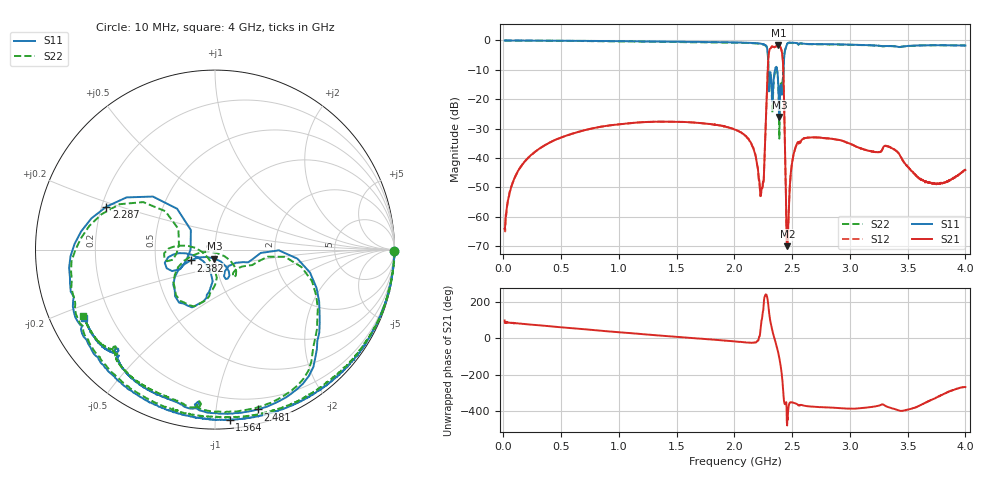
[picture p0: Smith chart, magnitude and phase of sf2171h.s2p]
# Hz S RI R 50
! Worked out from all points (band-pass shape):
!   1601 points, 10 MHz to 4 GHz, reference 50 ohm
!   highest |S21| = -1.58 dB at 2.382 GHz (marker M1); lowest = -70.0 dB at 2.459 GHz (marker M2)
!   |S21| within 3 dB of the highest: 2.297 GHz to 2.414 GHz (117 MHz wide, 4.97 % of centre)
!   lowest |S11| = -26.0 dB at 2.389 GHz (marker M3), VSWR 1.11, Z = 49.4 - j4.93 ohm
!   |S11| at or under -10 dB: 2.294 GHz to 2.352 GHz (58.19 MHz wide, 2.5 % of centre); 2.37 GHz to 2.426 GHz (56.05 MHz wide, 2.34 % of centre)
!   |S22| runs from -33.4 to 0.0 dB; largest |S21 - S12| = 0.0031
!   S11 on the Smith chart (normalised r, x): 10 MHz: open; 1.564 GHz: 0.05, -1.09; 2.287 GHz: 0.22, +0.18; 2.382 GHz: 0.76, -0.09; 2.481 GHz: 0.11, -1.30; 4 GHz: 0.10, -0.24
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1e7  0.9997 -0.00994  -9.29e-05 0.000612  -9.94e-05 0.0006  0.9999 -0.0103
1.770812e8  0.982 -0.1711  0.00152 0.00834  0.00154 0.00824  0.9811 -0.1769
6.758312e8  0.7858 -0.596  0.0178 0.0226  0.0177 0.0226  0.7737 -0.6015
1.341662e9  0.2711 -0.9196  0.0397 0.0119  0.0399 0.0118  0.2704 -0.9131
1.563606e9  0.0809 -0.9484  0.0408 0.00434  0.0408 0.00412  0.0809 -0.934
2.005e9  -0.3293 -0.8639  0.0291 -0.00837  0.0293 -0.00841  -0.3216 -0.8568
2.147144e9  -0.5192 -0.749  0.0158 -0.00712  0.0158 -0.00706  -0.5063 -0.7469
2.234425e9  -0.7131 -0.5084  -0.000397 0.00293  -0.000333 0.00284  -0.7017 -0.5159
2.256869e9  -0.7865 -0.3473  -0.0052 -0.00347  -0.00511 -0.00355  -0.7744 -0.361
2.286794e9  -0.6052 0.2391  -0.2018 -0.1513  -0.2023 -0.1513  -0.6322 0.197
2.319212e9  -0.2003 -0.0198  0.2613 0.7189  0.2617 0.7184  -0.189 0.0219
2.346644e9  -0.048 -0.2698  0.7665 -0.0019  0.7664 -0.00296  -0.0325 -0.2606
2.381556e9  -0.1358 -0.0602  0.0798 -0.8298  0.079 -0.8301  -0.1311 -0.0358
2.389038e9  -0.00355 -0.0498  -0.2608 -0.7793  -0.2614 -0.7785  0.00965 -0.019
2.416469e9  0.1551 -0.0698  -0.2785 0.4503  -0.2791 0.451  0.1817 -0.089
2.458862e9  0.4904 -0.7466  8.28e-05 -0.000304  -6.52e-05 -0.000323  0.4618 -0.7552
2.481306e9  0.2396 -0.8905  0.00364 0.000526  0.00369 0.000518  0.2226 -0.8834
2.533675e9  -0.0487 -0.9068  0.0161 0.000426  0.0159 0.000555  -0.0498 -0.8949
2.670831e9  -0.2726 -0.8264  0.0217 -0.00547  0.0216 -0.0055  -0.2633 -0.821
3.336662e9  -0.5494 -0.5884  0.0147 -0.00488  0.0148 -0.00496  -0.5574 -0.5796
3.663344e9  -0.6373 -0.5279  0.0039 0.000621  0.00389 0.000654  -0.6487 -0.5119
4e9  -0.7279 -0.3784  -0.000312 0.00621  -0.000467 0.00627  -0.7355 -0.3674
